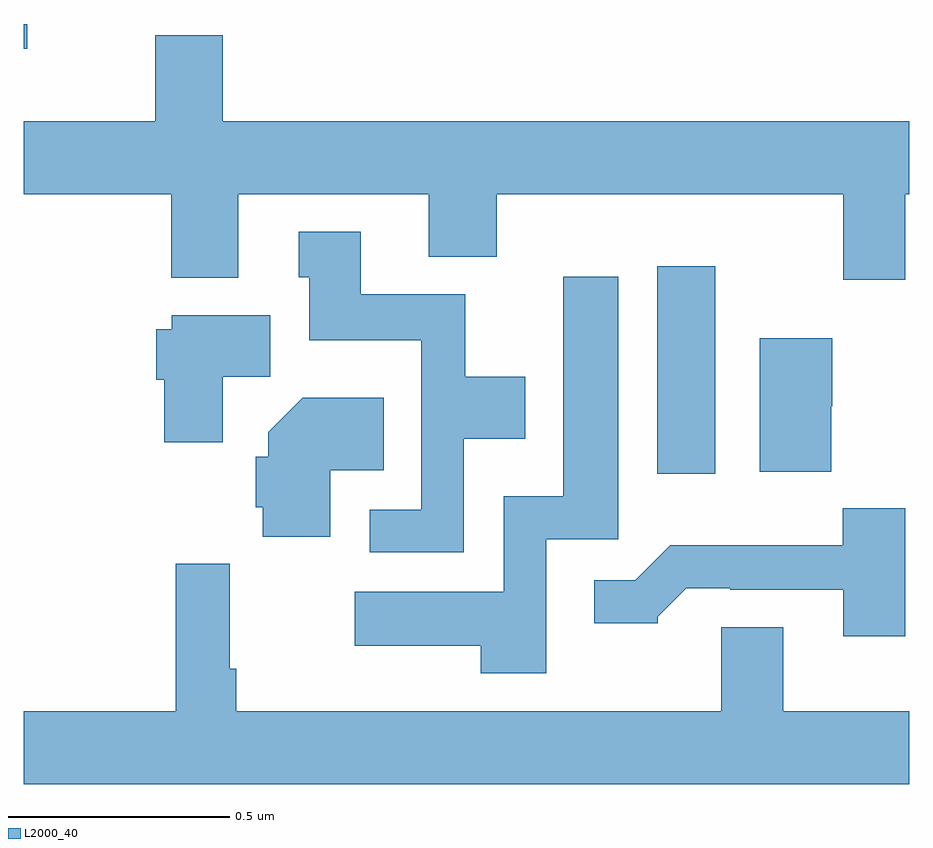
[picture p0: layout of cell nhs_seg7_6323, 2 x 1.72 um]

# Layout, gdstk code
import gdstk
lib = gdstk.Library(unit=1e-6, precision=1e-09)
def R(c, l, rs):  # rectangles x0, y0, x1, y1
    for r in rs: c.add(gdstk.rectangle(r[:2], r[2:], *l))
def P(c, l, *ps):  # polygons
    for p in ps: c.add(gdstk.Polygon(p, *l))
L2000_40 = (2000, 40)

nhs_seg7_6323 = lib.new_cell('nhs_seg7_6323')
R(nhs_seg7_6323, L2000_40, [(198.431,999.984,198.562,1000.453), (197,1000.944,197.008,1001)])
P(nhs_seg7_6323, L2000_40, [(197.45,1000.975),(197.297,1000.975),(197.297,1000.78),(197,1000.78),(197,1000.616),(197.333,1000.616),(197.333,1000.427),(197.485,1000.427),(197.485,1000.616),(197.915,1000.616),(197.915,1000.475),(198.068,1000.475),(198.068,1000.616),(198.851,1000.616),(198.851,1000.422),(198.991,1000.422),(198.991,1000.616),(199,1000.616),(199,1000.78),(197.45,1000.78)],
  [(197.994,1000.064),(198.133,1000.064),(198.133,1000.204),(197.997,1000.204),(197.997,1000.39),(197.761,1000.39),(197.761,1000.531),(197.621,1000.531),(197.621,1000.428),(197.645,1000.428),(197.645,1000.286),(197.898,1000.286),(197.898,999.903),(197.781,999.903),(197.781,999.807),(197.994,999.807)],
  [(198.18,999.837),(198.343,999.837),(198.343,1000.429),(198.218,1000.429),(198.218,999.934),(198.084,999.934),(198.084,999.718),(197.748,999.718),(197.748,999.596),(198.032,999.596),(198.032,999.534),(198.18,999.534)],
  [(197.45,1000.204),(197.557,1000.204),(197.557,1000.342),(197.334,1000.342),(197.334,1000.311),(197.3,1000.311),(197.3,1000.197),(197.318,1000.197),(197.318,1000.056),(197.45,1000.056)],
  [(198.824,1000.137),(198.826,1000.137),(198.826,1000.291),(198.662,1000.291),(198.662,999.989),(198.824,999.989)],
  [(197.692,999.992),(197.813,999.992),(197.813,1000.156),(197.63,1000.156),(197.552,1000.078),(197.552,1000.023),(197.524,1000.023),(197.524,999.909),(197.54,999.909),(197.54,999.842),(197.692,999.842)],
  [(198.991,999.907),(198.849,999.907),(198.849,999.823),(198.46,999.823),(198.381,999.744),(198.288,999.744),(198.288,999.647),(198.432,999.647),(198.432,999.662),(198.496,999.726),(198.595,999.726),(198.595,999.723),(198.851,999.723),(198.851,999.618),(198.991,999.618)],
  [(199,999.448),(198.715,999.448),(198.715,999.638),(198.575,999.638),(198.575,999.448),(197.48,999.448),(197.48,999.544),(197.465,999.544),(197.465,999.781),(197.344,999.781),(197.344,999.448),(197,999.448),(197,999.284),(199,999.284)])

lib.write_gds('nhs_seg7_6323.gds')
